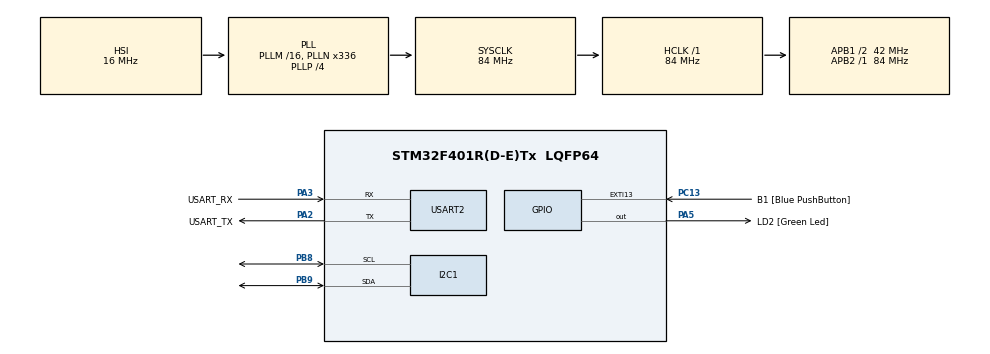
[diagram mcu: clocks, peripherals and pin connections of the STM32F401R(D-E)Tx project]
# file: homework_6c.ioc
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Dma.I2C1_RX.1.Direction=DMA_PERIPH_TO_MEMORY
Dma.I2C1_RX.1.FIFOMode=DMA_FIFOMODE_DISABLE
Dma.I2C1_RX.1.Instance=DMA1_Stream0
Dma.I2C1_RX.1.MemDataAlignment=DMA_MDATAALIGN_BYTE
Dma.I2C1_RX.1.MemInc=DMA_MINC_ENABLE
Dma.I2C1_RX.1.Mode=DMA_NORMAL
Dma.I2C1_RX.1.PeriphDataAlignment=DMA_PDATAALIGN_BYTE
Dma.I2C1_RX.1.PeriphInc=DMA_PINC_DISABLE
Dma.I2C1_RX.1.Priority=DMA_PRIORITY_LOW
Dma.Request0=USART2_TX
Dma.Request1=I2C1_RX
Dma.USART2_TX.0.Direction=DMA_MEMORY_TO_PERIPH
Dma.USART2_TX.0.FIFOMode=DMA_FIFOMODE_DISABLE
Dma.USART2_TX.0.Instance=DMA1_Stream6
Dma.USART2_TX.0.MemDataAlignment=DMA_MDATAALIGN_BYTE
Dma.USART2_TX.0.MemInc=DMA_MINC_ENABLE
Dma.USART2_TX.0.Mode=DMA_NORMAL
Dma.USART2_TX.0.PeriphDataAlignment=DMA_PDATAALIGN_BYTE
Dma.USART2_TX.0.PeriphInc=DMA_PINC_DISABLE
Dma.USART2_TX.0.Priority=DMA_PRIORITY_LOW
Mcu.Family=STM32F4
Mcu.Name=STM32F401R(D-E)Tx
Mcu.Package=LQFP64
NVIC.DMA1_Stream0_IRQn=true\:0\:0\:false\:false\:true\:false\:true\:true
NVIC.DMA1_Stream6_IRQn=true\:0\:0\:false\:false\:true\:false\:true\:true
NVIC.I2C1_EV_IRQn=true\:0\:0\:false\:false\:true\:true\:true\:true
NVIC.PriorityGroup=NVIC_PRIORITYGROUP_0
NVIC.TIM2_IRQn=true\:0\:0\:false\:false\:true\:true\:true\:true
NVIC.USART2_IRQn=true\:0\:0\:false\:false\:true\:true\:true\:true
PA13.GPIO_Label=TMS
PA13.Mode=Serial_Wire
PA13.Signal=SYS_JTMS-SWDIO
PA14.GPIO_Label=TCK
PA14.Mode=Serial_Wire
PA14.Signal=SYS_JTCK-SWCLK
PA2.GPIO_Label=USART_TX
PA2.GPIO_Mode=GPIO_MODE_AF_PP
PA2.GPIO_PuPd=GPIO_NOPULL
PA2.GPIO_Speed=GPIO_SPEED_FREQ_LOW
PA2.Mode=Asynchronous
PA2.Signal=USART2_TX
PA3.GPIO_Label=USART_RX
PA3.GPIO_Mode=GPIO_MODE_AF_PP
PA3.GPIO_PuPd=GPIO_NOPULL
PA3.GPIO_Speed=GPIO_SPEED_FREQ_LOW
PA3.Mode=Asynchronous
PA3.Signal=USART2_RX
PA5.GPIO_Label=LD2 [Green Led]
PA5.GPIO_Mode=GPIO_MODE_OUTPUT_PP
PA5.GPIO_PuPd=GPIO_NOPULL
PA5.GPIO_Speed=GPIO_SPEED_FREQ_LOW
PA5.Signal=GPIO_Output
PB3.GPIO_Label=SWO
PB3.Signal=SYS_JTDO-SWO
PB8.Mode=I2C
PB8.Signal=I2C1_SCL
PB9.Mode=I2C
PB9.Signal=I2C1_SDA
PC13-ANTI_TAMP.GPIO_Label=B1 [Blue PushButton]
PC13-ANTI_TAMP.GPIO_ModeDefaultEXTI=GPIO_MODE_IT_FALLING
PC13-ANTI_TAMP.GPIO_PuPd=GPIO_NOPULL
PC13-ANTI_TAMP.Signal=GPXTI13
PC14-OSC32_IN.Mode=LSE-External-Oscillator
PC14-OSC32_IN.Signal=RCC_OSC32_IN
PC15-OSC32_OUT.Mode=LSE-External-Oscillator
PC15-OSC32_OUT.Signal=RCC_OSC32_OUT
PH0\ -\ OSC_IN.Mode=HSE-External-Clock-Source
PH0\ -\ OSC_IN.Signal=RCC_OSC_IN
PH1\ -\ OSC_OUT.Mode=HSE-External-Clock-Source
PH1\ -\ OSC_OUT.Signal=RCC_OSC_OUT
ProjectManager.HeapSize=0x200
ProjectManager.StackSize=0x400
ProjectManager.TargetToolchain=STM32CubeIDE
RCC.48MHZClocksFreq_Value=48000000
RCC.AHBFreq_Value=84000000
RCC.APB1CLKDivider=RCC_HCLK_DIV2
RCC.APB1Freq_Value=42000000
RCC.APB1TimFreq_Value=84000000
RCC.APB2Freq_Value=84000000
RCC.APB2TimFreq_Value=84000000
RCC.CortexFreq_Value=84000000
RCC.HCLKFreq_Value=84000000
RCC.HSE_VALUE=8000000
RCC.HSI_VALUE=16000000
RCC.PLLN=336
RCC.PLLP=RCC_PLLP_DIV4
RCC.PLLQ=7
RCC.SYSCLKFreq_VALUE=84000000
RCC.SYSCLKSource=RCC_SYSCLKSOURCE_PLLCLK
RCC.VCOOutputFreq_Value=336000000
TIM2.Period=9999
TIM2.Prescaler=8399
USART2.VirtualMode=VM_ASYNC
VP_TIM2_VS_ClockSourceINT.Mode=Internal
board=NUCLEO-F401RE

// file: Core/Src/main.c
/* USER CODE BEGIN Header */
/**
  ******************************************************************************
  * @file           : main.c
  * @brief          : Main program body
  ******************************************************************************
  * @attention
  *
  * Copyright (c) 2023 STMicroelectronics.
  * All rights reserved.
  *
  * This software is licensed under terms that can be found in the LICENSE file
  * in the root directory of this software component.
  * If no LICENSE file comes with this software, it is provided AS-IS.
  *
  ******************************************************************************
  */
/* USER CODE END Header */
#include "main.h"
#include <stdio.h>

/* USER CODE BEGIN PD */
#define DIM_S 100
/* USER CODE END PD */

I2C_HandleTypeDef hi2c1;
DMA_HandleTypeDef hdma_i2c1_rx;

TIM_HandleTypeDef htim2;

UART_HandleTypeDef huart2;
DMA_HandleTypeDef hdma_usart2_tx;

/* USER CODE BEGIN PV */
char buffer_str_out[DIM_S];

uint8_t ACCEL_ADD  = 0b01010000;
uint8_t LIS2DE12_ADD  = 0b00110000;
//reg address, 1Hz + normal mode + XYZ enabled
uint8_t CTRL_REG1[]={0x20, 0b00010111};
//reg address, no HPF (default value at startup)
uint8_t CTRL_REG2[]={0x21, 0b00000000};
//reg address, continuous update + 2g FSR + self test disabled (default value at startup)
uint8_t CTRL_REG4[]={0x23, 0b00000000};
// addresses of registers where the values are put
uint8_t OUT_X_ADD = 0X29; // 00101001 (no auto increment) 10101001 (autoincrement)
uint8_t OUT_Y_ADD = 0X2B;
uint8_t OUT_Z_ADD = 0X2D;

uint8_t AUTOINCREMENT_ENABLE = 0b10000000; // OUT_X_ADD | AUTOINCREMENT_ENABLE

int8_t acc[5]; // where I put i2c values

/* USER CODE END PV */

void SystemClock_Config(void);
static void MX_GPIO_Init(void);
static void MX_DMA_Init(void);
static void MX_USART2_UART_Init(void);
static void MX_I2C1_Init(void);
static void MX_TIM2_Init(void);
/* USER CODE BEGIN PFP */
void initAccelerometer();
void askAccelerometerData();
void convertAndPrintAccelerometerData();
/* USER CODE END PFP */

/* USER CODE BEGIN 0 */
void HAL_TIM_PeriodElapsedCallback (TIM_HandleTypeDef * htim){
	// At each timer tick, ask to the sensor to save the x, y, z values
	if(htim==&htim2){
		askAccelerometerData();
	}
}

void askAccelerometerData(){
	// Set the auto-increment bit to the address of the X register, in order
	// to read starting from the register X, from a progressive register address
	uint8_t OUT_X_ADD_AUTOINCREMENT = OUT_X_ADD | AUTOINCREMENT_ENABLE;

	// Ask to receive 5 bytes:
	// Registers are arranged in the following way in the address space:
	// x value, blank byte, y value, blank byte, z value, ... other not interesting things
	// so from the x address I read 5 bytes (x,_,y,_,z) in order to read x, y, z
	HAL_I2C_Master_Transmit(&hi2c1, ACCEL_ADD, &OUT_X_ADD_AUTOINCREMENT, 1,50);
	// Start DMA receive (5 bytes in acc array) from device adding 1 to the address in order to read
	HAL_I2C_Master_Receive_DMA(&hi2c1, ACCEL_ADD+1, (uint8_t*) &acc, 5);
}

void HAL_I2C_MasterRxCpltCallback (I2C_HandleTypeDef * hi2c) {
	// When DMA receive ended, this callback is called and we can parse the values
	// we received in the buffer, convert them and send to the remote machine
	if(hi2c==&hi2c1){
		convertAndPrintAccelerometerData();
	}
}

void convertAndPrintAccelerometerData(){
    int len = 0; // Length of the string that will be transmitted using USART

    // Convert the read values
	float acc_g_x = acc[0]/64.0;
	float acc_g_y = acc[2]/64.0;
	float acc_g_z = acc[4]/64.0;

	// Format the output string with 2 decimal values and forcing the sign to be shown also when value is positive
	len = snprintf(buffer_str_out, DIM_S, "X: %+.2f g\tY: %+.2f g\tZ: %+.2f g\r\n", acc_g_x, acc_g_y , acc_g_z);
	// Transmit to remote machine using DMA
	HAL_UART_Transmit_DMA(&huart2, (uint8_t*) buffer_str_out, len);

}

void initAccelerometer()
{
    int len = 0;// Length of the string that will be transmitted using USART

    // Initialize Accelerometer: need to detect which sensor the board has.
    // Check for the LIS2DE: write to its address and check positive response
    if (HAL_I2C_Master_Transmit(&hi2c1, ACCEL_ADD, CTRL_REG1, sizeof(CTRL_REG1), 50) == HAL_OK)
    {
        len = snprintf(buffer_str_out, DIM_S, "LIS2DE found\r\n");
        // If OK, then we have a LIS2DE sensor
    }
    else
    {
        // Otherwise, we change the address to the LIS2DE12 and check if it's the correct sensor
        ACCEL_ADD = LIS2DE12_ADD;
        if (HAL_I2C_Master_Transmit(&hi2c1, ACCEL_ADD, CTRL_REG1, sizeof(CTRL_REG1), 50) == HAL_OK)
        {
            len = snprintf(buffer_str_out, DIM_S, "LIS2DE12 found\r\n");
            // If OK, then we have a LIS2DE12 sensor
        }
        else
        {
        	// Error, no sensor found
            len = snprintf(buffer_str_out, DIM_S, "Accelerometer error\r\n");
        }
    }
    HAL_UART_Transmit_DMA(&huart2,(uint8_t*) buffer_str_out, len);

   	// Configure the sensor (not useful here since we are asking for default configuration, but
    // changing the constant above we can set other configurations quickly)
    HAL_I2C_Master_Transmit(&hi2c1, ACCEL_ADD,CTRL_REG2, sizeof(CTRL_REG2), 50);
    HAL_I2C_Master_Transmit(&hi2c1, ACCEL_ADD,CTRL_REG4, sizeof(CTRL_REG4), 50);
}

/* USER CODE END 0 */

int main(void)
{

  /* MCU Configuration--------------------------------------------------------*/

  /* Reset of all peripherals, Initializes the Flash interface and the Systick. */
  HAL_Init();

  /* Configure the system clock */
  SystemClock_Config();

  /* Initialize all configured peripherals */
  MX_GPIO_Init();
  MX_DMA_Init();
  MX_USART2_UART_Init();
  MX_I2C1_Init();
  MX_TIM2_Init();
  /* USER CODE BEGIN 2 */
  initAccelerometer();
  HAL_TIM_Base_Start_IT(&htim2);
  /* USER CODE END 2 */

  /* Infinite loop */
  while (1)
  {

  }
}

void SystemClock_Config(void)
{
  RCC_OscInitTypeDef RCC_OscInitStruct = {0};
  RCC_ClkInitTypeDef RCC_ClkInitStruct = {0};

  /** Configure the main internal regulator output voltage
  */
  __HAL_RCC_PWR_CLK_ENABLE();
  __HAL_PWR_VOLTAGESCALING_CONFIG(PWR_REGULATOR_VOLTAGE_SCALE2);

  /** Initializes the RCC Oscillators according to the specified parameters
  * in the RCC_OscInitTypeDef structure.
  */
  RCC_OscInitStruct.OscillatorType = RCC_OSCILLATORTYPE_HSI;
  RCC_OscInitStruct.HSIState = RCC_HSI_ON;
  RCC_OscInitStruct.HSICalibrationValue = RCC_HSICALIBRATION_DEFAULT;
  RCC_OscInitStruct.PLL.PLLState = RCC_PLL_ON;
  RCC_OscInitStruct.PLL.PLLSource = RCC_PLLSOURCE_HSI;
  RCC_OscInitStruct.PLL.PLLM = 16;
  RCC_OscInitStruct.PLL.PLLN = 336;
  RCC_OscInitStruct.PLL.PLLP = RCC_PLLP_DIV4;
  RCC_OscInitStruct.PLL.PLLQ = 7;
  if (HAL_RCC_OscConfig(&RCC_OscInitStruct) != HAL_OK)
  {
    Error_Handler();
  }

  /** Initializes the CPU, AHB and APB buses clocks
  */
  RCC_ClkInitStruct.ClockType = RCC_CLOCKTYPE_HCLK|RCC_CLOCKTYPE_SYSCLK
                              |RCC_CLOCKTYPE_PCLK1|RCC_CLOCKTYPE_PCLK2;
  RCC_ClkInitStruct.SYSCLKSource = RCC_SYSCLKSOURCE_PLLCLK;
  RCC_ClkInitStruct.AHBCLKDivider = RCC_SYSCLK_DIV1;
  RCC_ClkInitStruct.APB1CLKDivider = RCC_HCLK_DIV2;
  RCC_ClkInitStruct.APB2CLKDivider = RCC_HCLK_DIV1;

  if (HAL_RCC_ClockConfig(&RCC_ClkInitStruct, FLASH_LATENCY_2) != HAL_OK)
  {
    Error_Handler();
  }
}

static void MX_I2C1_Init(void)
{

  hi2c1.Instance = I2C1;
  hi2c1.Init.ClockSpeed = 100000;
  hi2c1.Init.DutyCycle = I2C_DUTYCYCLE_2;
  hi2c1.Init.OwnAddress1 = 0;
  hi2c1.Init.AddressingMode = I2C_ADDRESSINGMODE_7BIT;
  hi2c1.Init.DualAddressMode = I2C_DUALADDRESS_DISABLE;
  hi2c1.Init.OwnAddress2 = 0;
  hi2c1.Init.GeneralCallMode = I2C_GENERALCALL_DISABLE;
  hi2c1.Init.NoStretchMode = I2C_NOSTRETCH_DISABLE;
  if (HAL_I2C_Init(&hi2c1) != HAL_OK)
  {
    Error_Handler();
  }

}

static void MX_TIM2_Init(void)
{

  TIM_ClockConfigTypeDef sClockSourceConfig = {0};
  TIM_MasterConfigTypeDef sMasterConfig = {0};

  htim2.Instance = TIM2;
  htim2.Init.Prescaler = 8399;
  htim2.Init.CounterMode = TIM_COUNTERMODE_UP;
  htim2.Init.Period = 9999;
  htim2.Init.ClockDivision = TIM_CLOCKDIVISION_DIV1;
  htim2.Init.AutoReloadPreload = TIM_AUTORELOAD_PRELOAD_DISABLE;
  if (HAL_TIM_Base_Init(&htim2) != HAL_OK)
  {
    Error_Handler();
  }
  sClockSourceConfig.ClockSource = TIM_CLOCKSOURCE_INTERNAL;
  if (HAL_TIM_ConfigClockSource(&htim2, &sClockSourceConfig) != HAL_OK)
  {
    Error_Handler();
  }
  sMasterConfig.MasterOutputTrigger = TIM_TRGO_RESET;
  sMasterConfig.MasterSlaveMode = TIM_MASTERSLAVEMODE_DISABLE;
  if (HAL_TIMEx_MasterConfigSynchronization(&htim2, &sMasterConfig) != HAL_OK)
  {
    Error_Handler();
  }

}

static void MX_USART2_UART_Init(void)
{

  huart2.Instance = USART2;
  huart2.Init.BaudRate = 115200;
  huart2.Init.WordLength = UART_WORDLENGTH_8B;
  huart2.Init.StopBits = UART_STOPBITS_1;
  huart2.Init.Parity = UART_PARITY_NONE;
  huart2.Init.Mode = UART_MODE_TX_RX;
  huart2.Init.HwFlowCtl = UART_HWCONTROL_NONE;
  huart2.Init.OverSampling = UART_OVERSAMPLING_16;
  if (HAL_UART_Init(&huart2) != HAL_OK)
  {
    Error_Handler();
  }

}

static void MX_DMA_Init(void)
{

  /* DMA controller clock enable */
  __HAL_RCC_DMA1_CLK_ENABLE();

  /* DMA interrupt init */
  /* DMA1_Stream0_IRQn interrupt configuration */
  HAL_NVIC_SetPriority(DMA1_Stream0_IRQn, 0, 0);
  HAL_NVIC_EnableIRQ(DMA1_Stream0_IRQn);
  /* DMA1_Stream6_IRQn interrupt configuration */
  HAL_NVIC_SetPriority(DMA1_Stream6_IRQn, 0, 0);
  HAL_NVIC_EnableIRQ(DMA1_Stream6_IRQn);

}

static void MX_GPIO_Init(void)
{
  GPIO_InitTypeDef GPIO_InitStruct = {0};

  /* GPIO Ports Clock Enable */
  __HAL_RCC_GPIOC_CLK_ENABLE();
  __HAL_RCC_GPIOH_CLK_ENABLE();
  __HAL_RCC_GPIOA_CLK_ENABLE();
  __HAL_RCC_GPIOB_CLK_ENABLE();

  /*Configure GPIO pin Output Level */
  HAL_GPIO_WritePin(LD2_GPIO_Port, LD2_Pin, GPIO_PIN_RESET);

  /*Configure GPIO pin : B1_Pin */
  GPIO_InitStruct.Pin = B1_Pin;
  GPIO_InitStruct.Mode = GPIO_MODE_IT_FALLING;
  GPIO_InitStruct.Pull = GPIO_NOPULL;
  HAL_GPIO_Init(B1_GPIO_Port, &GPIO_InitStruct);

  /*Configure GPIO pin : LD2_Pin */
  GPIO_InitStruct.Pin = LD2_Pin;
  GPIO_InitStruct.Mode = GPIO_MODE_OUTPUT_PP;
  GPIO_InitStruct.Pull = GPIO_NOPULL;
  GPIO_InitStruct.Speed = GPIO_SPEED_FREQ_LOW;
  HAL_GPIO_Init(LD2_GPIO_Port, &GPIO_InitStruct);

}

void Error_Handler(void)
{
  __disable_irq();
  while (1)
  {
  }
}
